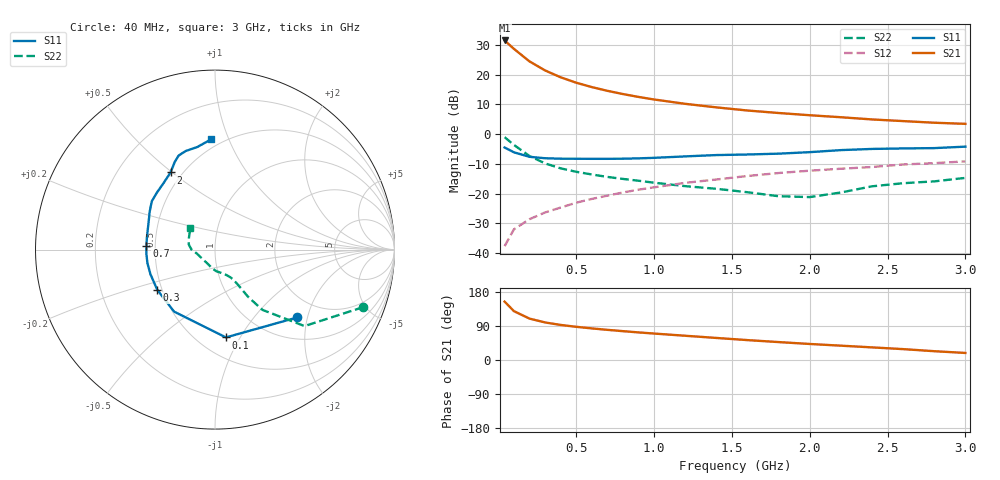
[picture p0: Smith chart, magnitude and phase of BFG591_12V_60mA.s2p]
! Filename:  BFG591F.S2P  Version:  4.0
! Philips part #: BFG591  Date: Jun 1994
! Bias condition: Vce=12V; Ic=60mA
#  MHz  S  MA  R  50
! Freq  S11  S21  S12  S22  !GUM [dB]
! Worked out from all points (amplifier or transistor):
!   21 points, 40 MHz to 3 GHz, reference 50 ohm
!   highest |S21| = 31.5 dB at 40 MHz (marker M1)
!   |S21| within 3 dB of that: start of sweep to 103.9 MHz
!   unconditionally stable (mu >= 1): 623.9 MHz to 2.199 GHz
!   at 300 MHz: K = 0.83, MSG = 23.9 dB, |S12| = -26.4 dB
!   at 1 GHz: K = 1.05, MAG = 13.4 dB, |S12| = -17.9 dB
!   at 3 GHz: K = 0.95, MSG = 6.3 dB, |S12| = -9.2 dB
!   S11 on the Smith chart (normalised r, x): 40 MHz: 1.48, -1.73; 100 MHz: 0.68, -0.87; 300 MHz: 0.47, -0.25; 700 MHz: 0.45, +0.02; 2 GHz: 0.43, +0.49; 3 GHz: 0.44, +0.86
40  0.594 -39.5  37.54 154.0  0.013 73.9  0.886 -21.2
100  0.493 -82.9  27.08 128.9  0.025 62.1  0.656 -40.5
200  0.414 -123.4  16.68 109.2  0.037 60.1  0.427 -51.8
300  0.392 -145.1  11.75 99.1  0.048 62.1  0.321 -55.0
400  0.385 -159.0  9.012 92.5  0.058 64.0  0.265 -56.0
500  0.384 -168.7  7.304 87.6  0.07 65.6  0.232 -56.9
600  0.383 -176.7  6.167 83.4  0.081 66.2  0.209 -58.0
700  0.383 176.6  5.336 79.6  0.092 66.7  0.19 -59.3
800  0.385 170.4  4.711 76.1  0.104 66.9  0.176 -61.0
900  0.39 164.2  4.213 72.8  0.116 66.9  0.164 -63.6
1000  0.398 158.7  3.815 69.8  0.127 66.5  0.152 -66.9
1200  0.421 149.8  3.225 64.0  0.151 65.4  0.133 -76.0
1400  0.443 142.7  2.811 58.2  0.172 63.4  0.12 -87.0
1600  0.453 135.9  2.49 52.5  0.197 62.3  0.105 -98.9
1800  0.468 127.9  2.261 47.3  0.221 59.3  0.09 -114.9
2000  0.496 119.9  2.073 42.3  0.242 57.5  0.087 -143.3
2200  0.537 114.7  1.918 37.8  0.261 55.3  0.104 -168.0
2400  0.562 111.1  1.762 33.3  0.279 54.3  0.132 179.4
2600  0.573 106.5  1.652 28.7  0.308 50.7  0.149 168.9
2800  0.58 99.8  1.551 23.2  0.324 46.8  0.16 155.0
3000  0.614 92.1  1.485 18.6  0.347 45.3  0.183 139.0
